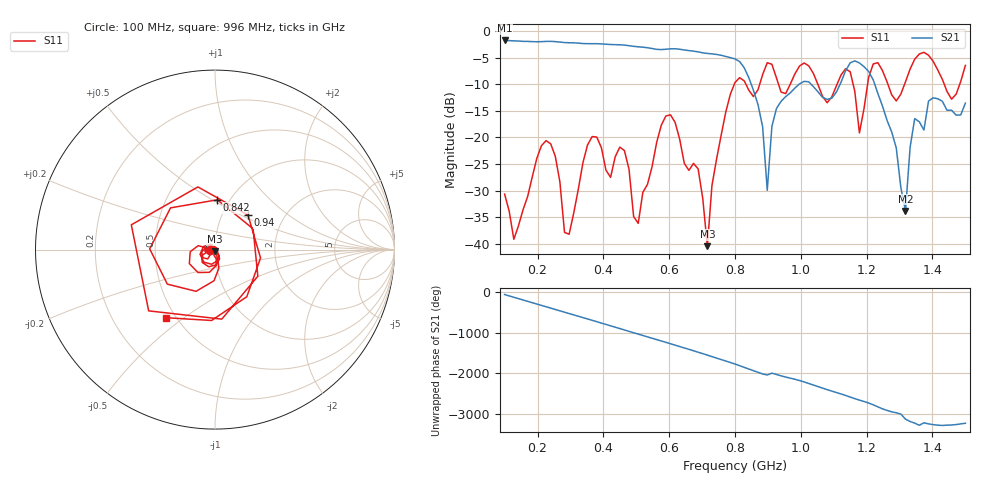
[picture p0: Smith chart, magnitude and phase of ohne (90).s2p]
! NanoVNA-App
! Date: 2025-09-25 14:21:30
! Start: 100MHz Stop: 1,5GHz Points: 101
! S-Parameter data: F S11 S21 S12 S22
# Hz S RI R 50
!  Frequency  S11_Real  S11_Imag  S21_Real  S21_Imag  S12_Real  S12_Imag  S22_Real  S22_Imag
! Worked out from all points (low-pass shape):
!   101 points, 100 MHz to 1.5 GHz, reference 50 ohm
!   highest |S21| = -1.79 dB at 100 MHz (marker M1); lowest = -33.8 dB at 1.318 GHz (marker M2)
!   |S21| within 3 dB of the highest: start of sweep to 771.4 MHz
!   lowest |S11| = -40.4 dB at 716 MHz (marker M3), VSWR 1.02, Z = 49.8 - j0.92 ohm
!   |S11| at or under -10 dB: start of sweep to 798 MHz; 833 MHz to 875.1 MHz (42.07 MHz wide, 4.93 % of centre); 1.052 GHz to 1.11 GHz (58.63 MHz wide, 5.42 % of centre)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
!   S12 and S22 are empty: the file has one direction only
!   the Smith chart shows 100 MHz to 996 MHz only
!   S11 on the Smith chart (normalised r, x): 100 MHz: 0.94, -0.01; 842 MHz: 0.88, +0.53; 940 MHz: 1.32, +0.55; 996 MHz: 0.44, -0.43
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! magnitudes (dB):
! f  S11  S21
! 100 MHz  -30.6  -1.8
! 128 MHz  -39.1  -1.9
! 226 MHz  -20.6  -2.0
! 296 MHz  -38.2  -2.2
! 338 MHz  -24.7  -2.4
! 464 MHz  -22.5  -2.7
! 506 MHz  -36.1  -3.0
! 576 MHz  -17.7  -3.5
! 688 MHz  -25.9  -3.9
! 716 MHz  -40.4  -4.2
! 800 MHz  -9.7  -5.3
! 842 MHz  -11.1  -8.8
! 898 MHz  -6.0  -29.9
! 940 MHz  -11.5  -13.2
! 996 MHz  -6.6  -9.9
! 1.038 GHz  -8.0  -10.4
! 1.178 GHz  -19.1  -6.0
! 1.22 GHz  -6.2  -9.2
! 1.276 GHz  -12.0  -19.0
! 1.318 GHz  -9.6  -33.8
! 1.346 GHz  -5.3  -16.5
! 1.5 GHz  -6.5  -13.5
